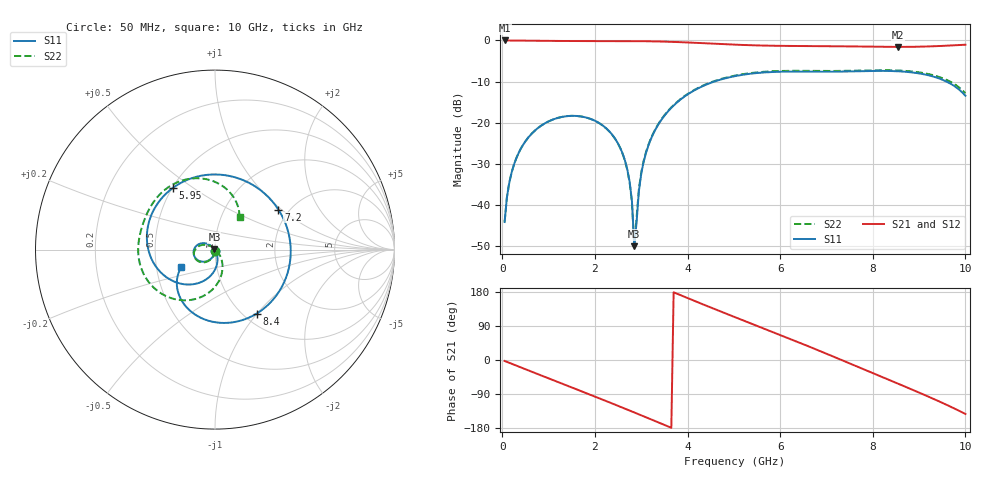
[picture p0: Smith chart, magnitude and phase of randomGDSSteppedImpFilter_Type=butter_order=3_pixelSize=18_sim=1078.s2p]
! freq	dB(S11)	phase(S11)	dB(S12)	phase(S12)
!  dB(S21)	phase(S21)	dB(S22)	phase(S22)
!S-par simulation data
#  GHz  S  DB  R 50
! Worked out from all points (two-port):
!   200 points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, 50 MHz to 10 GHz, reference 50 ohm
!   highest |S21| = 0.00 dB at 50 MHz (marker M1); lowest = -1.6 dB at 8.55 GHz (marker M2)
!   |S21| within 3 dB of the highest: start of sweep to end of sweep
!   lowest |S11| = -50.0 dB at 2.85 GHz (marker M3), VSWR 1.01, Z = 49.7 + j0.12 ohm
!   |S11| at or under -10 dB: start of sweep to 4.576 GHz; 9.594 GHz to end of sweep
!   |S22| runs from -49.9 to -7.2 dB; largest |S21 - S12| = 0
!   S11 on the Smith chart (normalised r, x): 50 MHz: 1.00, -0.01; 5.95 GHz: 0.50, +0.42; 7.2 GHz: 1.76, +0.95; 8.4 GHz: 1.14, -1.00; 10 GHz: 0.67, -0.14
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0.05  -44.10 -92.0  -0.00 -2.5  -0.00 -2.5  -44.09 -91.9
0.2  -32.12 -100.1  -0.02 -9.8  -0.02 -9.8  -32.11 -99.4
0.5  -24.48 -115.6  -0.04 -24.4  -0.04 -24.4  -24.48 -113.7
1.05  -19.40 -143.5  -0.11 -50.9  -0.11 -50.9  -19.40 -139.6
1.75  -18.56 -178.7  -0.16 -84.5  -0.16 -84.5  -18.56 -172.2
2.6  -27.51 139.1  -0.15 -125.9  -0.15 -125.9  -27.59 146.4
2.75  -34.31 134.0  -0.16 -133.4  -0.16 -133.4  -34.52 135.3
2.8  -39.04 135.1  -0.16 -135.9  -0.16 -135.9  -39.39 127.3
2.85  -49.96 157.8  -0.17 -138.4  -0.17 -138.4  -49.91 86.1
2.95  -36.52 -68.7  -0.17 -143.4  -0.17 -143.4  -36.04 -37.4
3.05  -29.60 -70.3  -0.19 -148.5  -0.19 -148.5  -29.36 -47.0
3.4  -19.87 -87.3  -0.26 -166.2  -0.26 -166.2  -19.75 -66.0
4.15  -12.10 -128.4  -0.56 156.0  -0.56 156.0  -11.99 -100.4
5.05  -8.61 -179.7  -1.04 111.9  -1.04 111.9  -8.47 -136.8
5.95  -7.61 124.4  -1.31 68.6  -1.31 68.6  -7.44 -167.2
6.7  -7.58 71.0  -1.37 31.7  -1.37 31.7  -7.39 172.3
7.2  -7.58 32.3  -1.41 6.4  -1.41 6.4  -7.40 160.2
8.35  -7.41 -53.5  -1.57 -52.4  -1.57 -52.4  -7.24 128.6
8.4  -7.42 -56.9  -1.57 -55.0  -1.57 -55.0  -7.25 127.0
8.55  -7.49 -66.9  -1.57 -62.7  -1.57 -62.7  -7.30 121.7
9.3  -8.75 -113.3  -1.42 -102.0  -1.42 -102.0  -8.42 90.8
10  -13.43 -152.2  -1.04 -142.4  -1.04 -142.4  -12.83 53.1
